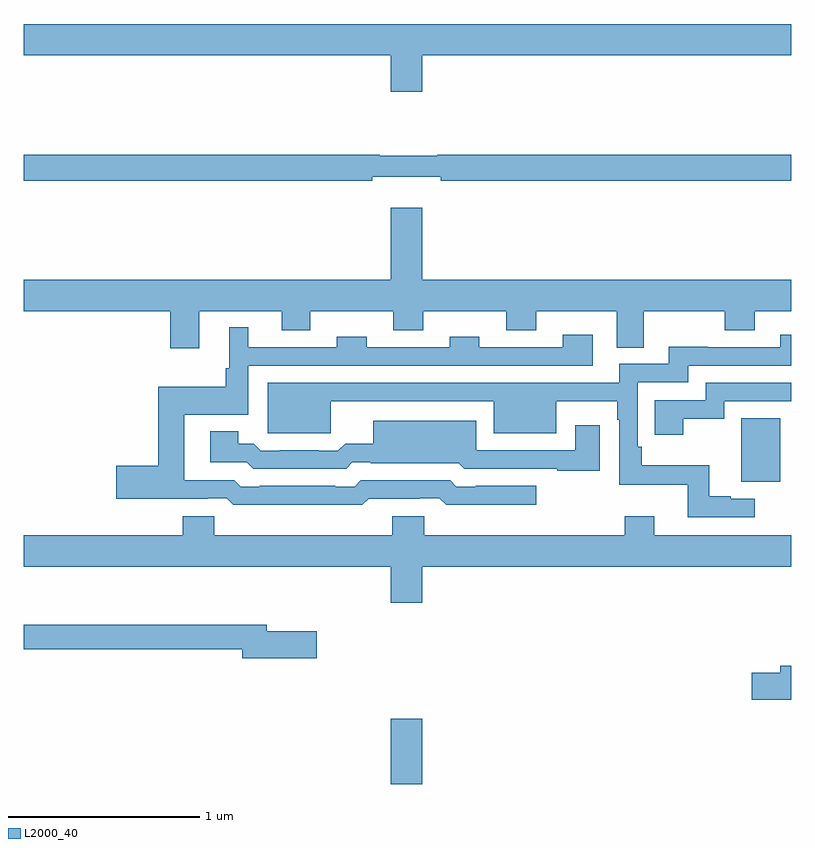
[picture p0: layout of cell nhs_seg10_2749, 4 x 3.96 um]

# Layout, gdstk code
import gdstk
lib = gdstk.Library(unit=1e-6, precision=1e-09)
def R(c, l, rs):  # rectangles x0, y0, x1, y1
    for r in rs: c.add(gdstk.rectangle(r[:2], r[2:], *l))
def P(c, l, *ps):  # polygons
    for p in ps: c.add(gdstk.Polygon(p, *l))
L2000_40 = (2000, 40)

nhs_seg10_2749 = lib.new_cell('nhs_seg10_2749')
R(nhs_seg10_2749, L2000_40, [(260.912,1316.5,261.076,1316.839), (262.739,1318.076,262.942,1318.405)])
P(nhs_seg10_2749, L2000_40, [(261.076,1320.296),(263,1320.296),(263,1320.46),(259,1320.46),(259,1320.296),(260.912,1320.296),(260.912,1320.108),(261.076,1320.108)],
  [(260.816,1319.663),(261.172,1319.663),(261.172,1319.644),(263,1319.644),(263,1319.78),(261.155,1319.78),(261.155,1319.773),(260.855,1319.773),(260.855,1319.78),(259,1319.78),(259,1319.644),(260.816,1319.644)],
  [(259.915,1318.964),(260.345,1318.964),(260.345,1318.865),(260.493,1318.865),(260.493,1318.964),(260.926,1318.964),(260.926,1318.865),(261.081,1318.865),(261.081,1318.964),(261.514,1318.964),(261.514,1318.865),(261.672,1318.865),(261.672,1318.964),(262.091,1318.964),(262.091,1318.774),(262.231,1318.774),(262.231,1318.964),(262.654,1318.964),(262.654,1318.865),(262.809,1318.865),(262.809,1318.964),(263,1318.964),(263,1319.128),(261.076,1319.128),(261.076,1319.503),(260.912,1319.503),(260.912,1319.128),(259,1319.128),(259,1318.964),(259.763,1318.964),(259.763,1318.77),(259.915,1318.77)],
  [(260.288,1317.956),(260.566,1317.956),(260.566,1317.954),(260.765,1317.954),(260.797,1317.986),(261.065,1317.986),(261.065,1317.99),(261.165,1317.99),(261.202,1317.954),(261.426,1317.954),(261.426,1317.956),(261.67,1317.956),(261.67,1318.053),(261.355,1318.053),(261.355,1318.05),(261.255,1318.05),(261.222,1318.083),(260.757,1318.083),(260.724,1318.05),(260.624,1318.05),(260.624,1318.053),(260.23,1318.053),(260.23,1318.05),(260.13,1318.05),(260.097,1318.083),(259.837,1318.083),(259.837,1318.424),(260.169,1318.424),(260.169,1318.68),(261.964,1318.68),(261.964,1318.84),(261.808,1318.84),(261.808,1318.776),(261.375,1318.776),(261.375,1318.831),(261.22,1318.831),(261.22,1318.776),(260.787,1318.776),(260.787,1318.831),(260.632,1318.831),(260.632,1318.776),(260.17,1318.776),(260.17,1318.879),(260.072,1318.879),(260.072,1318.666),(260.053,1318.666),(260.053,1318.57),(259.7,1318.57),(259.7,1318.157),(259.482,1318.157),(259.482,1317.986),(259.958,1317.986),(259.958,1317.99),(260.057,1317.99),(260.093,1317.954),(260.288,1317.954)],
  [(262.81,1317.987),(262.683,1317.987),(262.683,1318),(262.573,1318),(262.573,1318.162),(262.22,1318.162),(262.22,1318.258),(262.2,1318.258),(262.2,1318.593),(262.462,1318.593),(262.462,1318.68),(263,1318.68),(263,1318.84),(262.943,1318.84),(262.943,1318.776),(262.565,1318.776),(262.565,1318.778),(262.361,1318.778),(262.361,1318.689),(262.103,1318.689),(262.103,1318.59),(260.495,1318.59),(260.495,1318.591),(260.273,1318.591),(260.273,1318.328),(260.599,1318.328),(260.599,1318.494),(261.449,1318.494),(261.449,1318.328),(261.775,1318.328),(261.775,1318.494),(262.092,1318.494),(262.092,1318.397),(262.104,1318.397),(262.104,1318.058),(262.46,1318.058),(262.46,1317.891),(262.81,1317.891)],
  [(262.437,1318.402),(262.65,1318.402),(262.65,1318.494),(263,1318.494),(263,1318.59),(262.554,1318.59),(262.554,1318.5),(262.289,1318.5),(262.289,1318.32),(262.437,1318.32)],
  [(262.003,1318.369),(261.875,1318.369),(261.875,1318.239),(261.357,1318.239),(261.357,1318.393),(260.822,1318.393),(260.822,1318.274),(260.675,1318.274),(260.637,1318.236),(260.537,1318.236),(260.537,1318.239),(260.335,1318.239),(260.335,1318.236),(260.235,1318.236),(260.199,1318.273),(260.119,1318.273),(260.119,1318.339),(259.971,1318.339),(259.971,1318.176),(260.163,1318.176),(260.196,1318.143),(260.68,1318.143),(260.713,1318.176),(260.809,1318.176),(260.809,1318.172),(261.267,1318.172),(261.296,1318.143),(261.779,1318.143),(261.779,1318.131),(262.003,1318.131)],
  [(261.076,1317.632),(263,1317.632),(263,1317.796),(262.285,1317.796),(262.285,1317.895),(262.133,1317.895),(262.133,1317.796),(261.086,1317.796),(261.086,1317.895),(260.921,1317.895),(260.921,1317.796),(259.994,1317.796),(259.994,1317.895),(259.829,1317.895),(259.829,1317.796),(259,1317.796),(259,1317.632),(260.912,1317.632),(260.912,1317.444),(261.076,1317.444)],
  [(260.527,1317.297),(260.266,1317.297),(260.266,1317.331),(259,1317.331),(259,1317.202),(260.138,1317.202),(260.138,1317.155),(260.527,1317.155)],
  [(263,1317.116),(262.943,1317.116),(262.943,1317.08),(262.794,1317.08),(262.794,1316.938),(263,1316.938)])

lib.write_gds('nhs_seg10_2749.gds')
